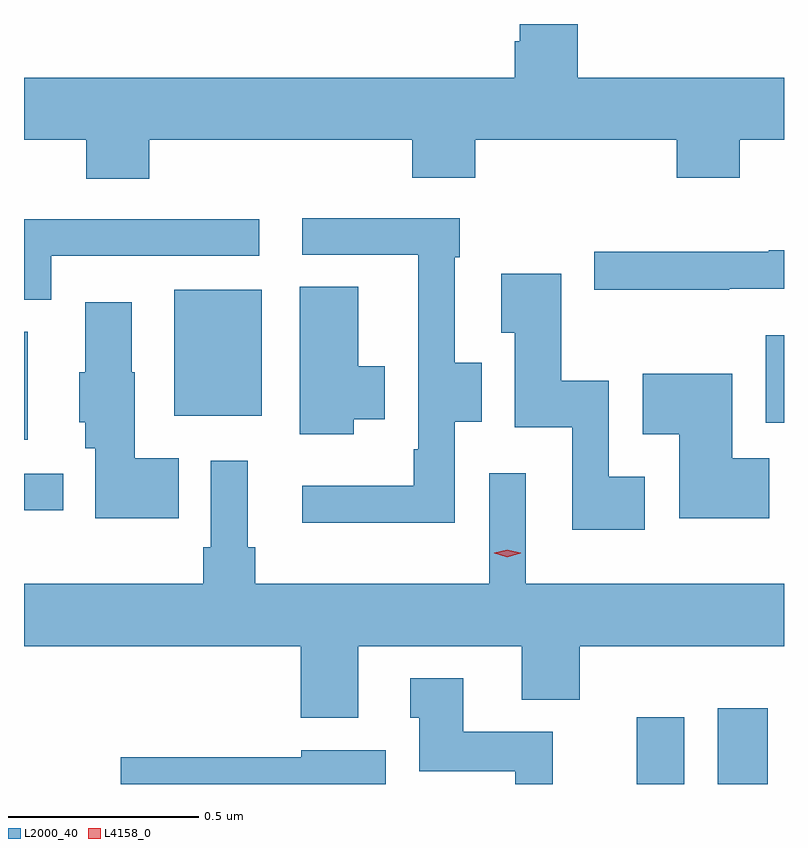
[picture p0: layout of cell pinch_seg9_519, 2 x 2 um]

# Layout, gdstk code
import gdstk
lib = gdstk.Library(unit=1e-6, precision=1e-09)
def R(c, l, rs):  # rectangles x0, y0, x1, y1
    for r in rs: c.add(gdstk.rectangle(r[:2], r[2:], *l))
def P(c, l, *ps):  # polygons
    for p in ps: c.add(gdstk.Polygon(p, *l))
L2000_40 = (2000, 40)
L4158_0 = (4158, 0)

pinch_seg9_519 = lib.new_cell('pinch_seg9_519')
R(pinch_seg9_519, L2000_40, [(371.822,1200.053,371.947,1200.229), (372.035,1200.053,372.166,1200.253), (370.209,1200.773,370.312,1200.87), (370.209,1200.959,370.219,1201.243), (372.161,1201.004,372.209,1201.234), (370.604,1201.022,370.834,1201.354)])
P(pinch_seg9_519, L2000_40, [(370.538,1201.748),(371.231,1201.748),(371.231,1201.649),(371.396,1201.649),(371.396,1201.748),(371.927,1201.748),(371.927,1201.649),(372.092,1201.649),(372.092,1201.748),(372.209,1201.748),(372.209,1201.912),(371.666,1201.912),(371.666,1202.053),(371.513,1202.053),(371.513,1202.008),(371.501,1202.008),(371.501,1201.912),(370.209,1201.912),(370.209,1201.748),(370.373,1201.748),(370.373,1201.646),(370.538,1201.646)],
  [(371.343,1201.006),(371.413,1201.006),(371.413,1201.161),(371.343,1201.161),(371.343,1201.439),(371.356,1201.439),(371.356,1201.542),(370.941,1201.542),(370.941,1201.446),(371.246,1201.446),(371.246,1201.249),(371.247,1201.249),(371.247,1200.934),(371.235,1200.934),(371.235,1200.838),(370.941,1200.838),(370.941,1200.74),(371.343,1200.74)],
  [(370.281,1201.443),(370.828,1201.443),(370.828,1201.539),(370.209,1201.539),(370.209,1201.328),(370.281,1201.328)],
  [(372.065,1201.356),(372.209,1201.356),(372.209,1201.457),(372.169,1201.457),(372.169,1201.454),(371.709,1201.454),(371.709,1201.354),(372.065,1201.354)],
  [(371.842,1200.862),(371.748,1200.862),(371.748,1201.114),(371.623,1201.114),(371.623,1201.396),(371.465,1201.396),(371.465,1201.24),(371.501,1201.24),(371.501,1200.992),(371.652,1200.992),(371.652,1200.722),(371.842,1200.722)],
  [(371.077,1201.013),(371.158,1201.013),(371.158,1201.153),(371.089,1201.153),(371.089,1201.361),(370.934,1201.361),(370.934,1200.974),(371.077,1200.974)],
  [(370.616,1200.91),(370.501,1200.91),(370.501,1201.137),(370.492,1201.137),(370.492,1201.321),(370.37,1201.321),(370.37,1201.137),(370.355,1201.137),(370.355,1201.005),(370.37,1201.005),(370.37,1200.936),(370.397,1200.936),(370.397,1200.752),(370.616,1200.752)],
  [(372.17,1200.91),(372.073,1200.91),(372.073,1201.132),(371.837,1201.132),(371.837,1200.974),(371.933,1200.974),(371.933,1200.752),(372.17,1200.752)],
  [(371.089,1200.416),(371.519,1200.416),(371.519,1200.275),(371.672,1200.275),(371.672,1200.416),(372.209,1200.416),(372.209,1200.58),(371.529,1200.58),(371.529,1200.871),(371.433,1200.871),(371.433,1200.58),(370.817,1200.58),(370.817,1200.676),(370.798,1200.676),(370.798,1200.904),(370.701,1200.904),(370.701,1200.676),(370.681,1200.676),(370.681,1200.58),(370.209,1200.58),(370.209,1200.416),(370.937,1200.416),(370.937,1200.227),(371.089,1200.227)],
  [(371.601,1200.19),(371.365,1200.19),(371.365,1200.331),(371.225,1200.331),(371.225,1200.228),(371.249,1200.228),(371.249,1200.086),(371.502,1200.086),(371.502,1200.053),(371.601,1200.053)],
  [(371.161,1200.142),(370.938,1200.142),(370.938,1200.123),(370.464,1200.123),(370.464,1200.053),(371.161,1200.053)])
P(pinch_seg9_519, L4158_0, [(371.481,1200.65),(371.446,1200.66),(371.446,1200.66),(371.446,1200.661),(371.481,1200.67),(371.516,1200.661),(371.516,1200.66),(371.516,1200.66)])

lib.write_gds('pinch_seg9_519.gds')
